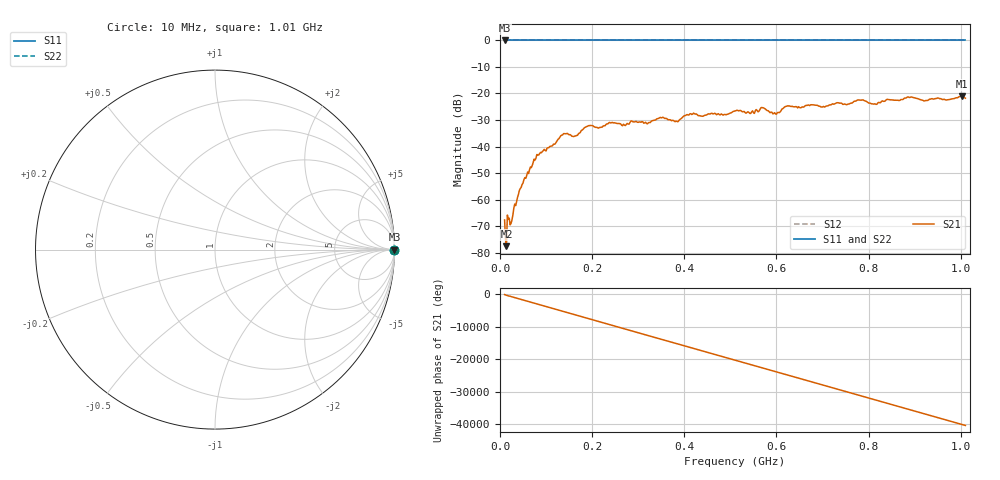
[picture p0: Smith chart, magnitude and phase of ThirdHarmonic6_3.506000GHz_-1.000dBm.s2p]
! 8/17/2025 11:27:53 AM
! C:\ANRITSUVNA\TEMP\TEMP.S2P
! CHANNEL.1
! TR.MEASUREMENT
! RAW.DATA
! RF.CORRECTION.OFF
! AVERAGING.OFF
! IF.BANDWIDTH: 5KHZ
! SWEEPTYPE:  FREQ.SWEEP(Linear)
! Reference Plane Port Info
! PORT:  PORT1  PORT2
! DISTANCE:  0  m  0  m
! TIME:  0  s  0  s
! PHASE.OFFSET:  0  deg.  0  deg.
! LOSS:  0  dB  0  dB
! REF.LOSS:  0  dB  0  dB
! REF.FREQ:  0  Hz  0  Hz
! Power Info
! POWER:  -20  dBm  -20  dBm
! EFF.POWER:  -20  dBm  -20  dBm
! SOURCE.ATTEN:  0  dB  0  dB
! TEST.ATTEN:  0  dB  0  dB
# GHZ S RI R 50.0
! FREQ.GHZ  S11RE  S11IM  S21RE  S21IM  S12RE  S12IM  S22RE  S22IM
!; PortSelection: Port_12
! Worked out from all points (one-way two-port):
!   501 points, 10 MHz to 1.01 GHz, reference 50 ohm
!   highest |S21| = -21.05 dB at 1.002 GHz (marker M1); lowest = -77.6 dB at 14 MHz (marker M2)
!   lowest |S11| = 0.0 dB at 10 MHz (marker M3)
!   |S11| at or under -10 dB: nowhere
!   |S22| runs from 0.0 to 0.0 dB; largest |S21 - S12| = 1.1
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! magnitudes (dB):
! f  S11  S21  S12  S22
! 10 MHz  0.0  -67.7  0.0  0.0
! 14 MHz  0.0  -77.6  0.0  0.0
! 26 MHz  0.0  -67.7  0.0  0.0
! 46 MHz  0.0  -55.4  0.0  0.0
! 78 MHz  0.0  -44.4  0.0  0.0
! 136 MHz  0.0  -35.6  0.0  0.0
! 164 MHz  0.0  -36.0  0.0  0.0
! 178 MHz  0.0  -33.8  0.0  0.0
! 344 MHz  0.0  -29.4  0.0  0.0
! 384 MHz  0.0  -30.5  0.0  0.0
! 416 MHz  0.0  -27.9  0.0  0.0
! 510 MHz  0.0  -26.6  0.0  0.0
! 548 MHz  0.0  -26.5  0.0  0.0
! 570 MHz  0.0  -25.4  0.0  0.0
! 596 MHz  0.0  -27.3  0.0  0.0
! 622 MHz  0.0  -24.8  0.0  0.0
! 678 MHz  0.0  -24.3  0.0  0.0
! 784 MHz  0.0  -22.5  0.0  0.0
! 814 MHz  0.0  -23.9  0.0  0.0
! 844 MHz  0.0  -22.3  0.0  0.0
! 1.002 GHz  0.0  -21.0  0.0  0.0
! 1.01 GHz  0.0  -21.8  0.0  0.0
